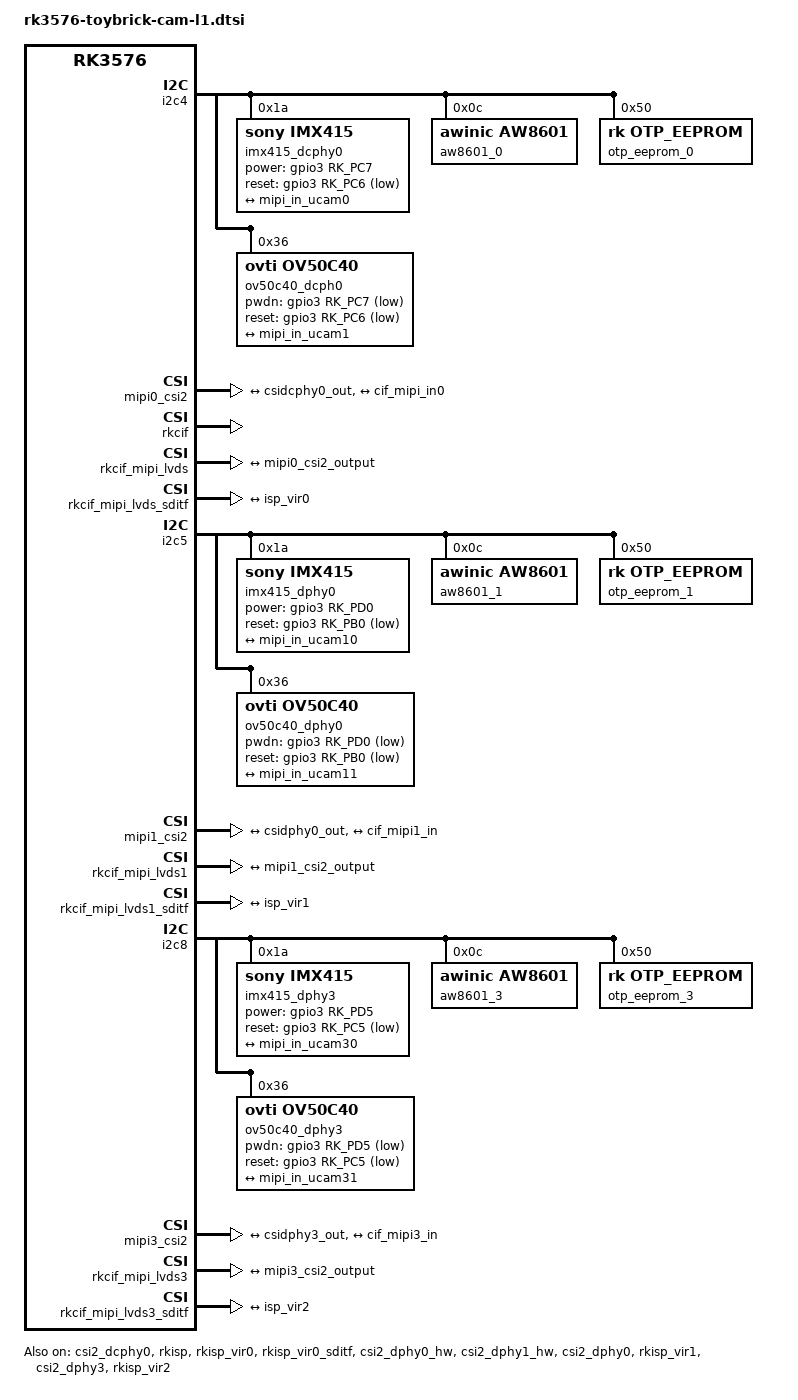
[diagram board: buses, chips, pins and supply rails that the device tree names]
// SPDX-License-Identifier: (GPL-2.0+ OR MIT)
/*
 * Copyright (c) 2024 Rockchip Electronics Co., Ltd.
 *
 */

&csi2_dcphy0 {
	status = "okay";

	ports {
		#address-cells = <1>;
		#size-cells = <0>;
		port@0 {
			reg = <0>;
			#address-cells = <1>;
			#size-cells = <0>;

			mipi_in_ucam0: endpoint@1 {
				reg = <1>;
				remote-endpoint = <&imx415_out0>;
				data-lanes = <1 2 3 4>;
			};
			
			mipi_in_ucam1: endpoint@2 {
				reg = <2>;
				remote-endpoint = <&ov50c40_out0>;
				data-lanes = <1 2 3 4>;
			};
		};
		port@1 {
			reg = <1>;
			#address-cells = <1>;
			#size-cells = <0>;

			csidcphy0_out: endpoint@0 {
				reg = <0>;
				remote-endpoint = <&mipi0_csi2_input>;
			};
		};
	};
};

&i2c4 {
	status = "okay";
	pinctrl-names = "default";
	pinctrl-0 = <&i2c4m3_xfer>;

	imx415_dcphy0: imx415@1a {
		compatible = "sony,imx415";
		reg = <0x1a>;
		clocks = <&cru CLK_MIPI_CAMERAOUT_M0>;
		clock-names = "xvclk";
		pinctrl-names = "default";
		pinctrl-0 = <&cam_clk0m0_clk0>;
		power-domains = <&power RK3576_PD_VI>;
		power-gpios = <&gpio3 RK_PC7 GPIO_ACTIVE_HIGH>;
		reset-gpios = <&gpio3 RK_PC6 GPIO_ACTIVE_LOW>;
		rockchip,camera-module-index = <0>;
		rockchip,camera-module-facing = "back";
		rockchip,camera-module-name = "CMK-OT2022-PX1";
		rockchip,camera-module-lens-name = "IR0147-50IRC-8M-F20";
		port {
			imx415_out0: endpoint {
				remote-endpoint = <&mipi_in_ucam0>;
				data-lanes = <1 2 3 4>;
			};
		};
	};

	aw8601_0: aw8601@c {
		compatible = "awinic,aw8601";
		status = "okay";
		reg = <0x0c>;
		rockchip,vcm-start-current = <56>;
		rockchip,vcm-rated-current = <96>;
		rockchip,vcm-step-mode = <4>;
		rockchip,camera-module-index = <0>;
		rockchip,camera-module-facing = "back";
	};

	otp_eeprom_0: otp_eeprom@50 {
		compatible = "rk,otp_eeprom";
		status = "okay";
		reg = <0x50>;
	};

	ov50c40_dcph0: ov50c40@36 {
		compatible = "ovti,ov50c40";
		reg = <0x36>;
		clocks = <&cru CLK_MIPI_CAMERAOUT_M0>;
		clock-names = "xvclk";
		power-domains = <&power RK3576_PD_VI>;
		pinctrl-names = "default";
		pinctrl-0 = <&cam_clk0m0_clk0>;
		pwdn-gpios = <&gpio3 RK_PC7 GPIO_ACTIVE_LOW>;// must be high at last
		reset-gpios = <&gpio3 RK_PC6 GPIO_ACTIVE_LOW>;// must be high at last
		rockchip,camera-module-index = <0>;
		rockchip,camera-module-facing = "back";
		rockchip,camera-module-name = "HZGA06";
		rockchip,camera-module-lens-name = "ZE0082C1-RK3568";
		eeprom-ctrl = <&otp_eeprom_0>;
		lens-focus = <&aw8601_0>;
		port {
			ov50c40_out0: endpoint {
				remote-endpoint = <&mipi_in_ucam1>;
				data-lanes = <1 2 3 4>;
			};
		};
	};
};

&mipi0_csi2 {
	status = "okay";

	ports {
		#address-cells = <1>;
		#size-cells = <0>;

		port@0 {
			reg = <0>;
			#address-cells = <1>;
			#size-cells = <0>;

			mipi0_csi2_input: endpoint@1 {
				reg = <1>;
				remote-endpoint = <&csidcphy0_out>;
			};
		};

		port@1 {
			reg = <1>;
			#address-cells = <1>;
			#size-cells = <0>;

			mipi0_csi2_output: endpoint@0 {
				reg = <0>;
				remote-endpoint = <&cif_mipi_in0>;
			};
		};
	};
};

&rkcif {
	status = "okay";
};

&rkcif_mipi_lvds {
	status = "okay";

	port {
		cif_mipi_in0: endpoint {
			remote-endpoint = <&mipi0_csi2_output>;
		};
	};
};

&rkcif_mipi_lvds_sditf {
	status = "okay";

	port {
		mipi_lvds_sditf: endpoint {
			remote-endpoint = <&isp_vir0>;
		};
	};
};

&rkcif_mmu {
	status = "okay";
};

&rkisp {
	status = "okay";
};

&rkisp_mmu {
	status = "okay";
};

&rkisp_vir0 {
	status = "okay";

	port {
		#address-cells = <1>;
		#size-cells = <0>;

		isp_vir0: endpoint@0 {
			reg = <0>;
			remote-endpoint = <&mipi_lvds_sditf>;
		};
	};
};

&rkisp_vir0_sditf {
	status = "okay";
};

&csi2_dphy0_hw {
	status = "okay";
};

&csi2_dphy1_hw {
	status = "okay";
};

&csi2_dphy0 {
	status = "okay";

	ports {
		#address-cells = <1>;
		#size-cells = <0>;
		port@0 {
			reg = <0>;
			#address-cells = <1>;
			#size-cells = <0>;

			mipi_in_ucam10: endpoint@1 {
				reg = <1>;
				remote-endpoint = <&imx415_out1>;
				data-lanes = <1 2 3 4>;
			};
			
			mipi_in_ucam11: endpoint@2 {
				reg = <2>;
				remote-endpoint = <&ov50c40_out1>;
				data-lanes = <1 2 3 4>;
			};
		};
		port@1 {
			reg = <1>;
			#address-cells = <1>;
			#size-cells = <0>;                             

			csidphy0_out: endpoint@0 {
				reg = <0>;
				remote-endpoint = <&mipi1_csi2_input>;
			};
		};
	};
};

&i2c5 {
	status = "okay";
	pinctrl-names = "default";
	pinctrl-0 = <&i2c5m3_xfer>;

	imx415_dphy0: imx415@1a {
		compatible = "sony,imx415";
		reg = <0x1a>;
		clocks = <&cru CLK_MIPI_CAMERAOUT_M1>;
		clock-names = "xvclk";
		pinctrl-names = "default";
		pinctrl-0 = <&cam_clk1m0_clk1>;
		power-domains = <&power RK3576_PD_VI>;
		power-gpios = <&gpio3 RK_PD0 GPIO_ACTIVE_HIGH>;
		reset-gpios = <&gpio3 RK_PB0 GPIO_ACTIVE_LOW>;
		rockchip,camera-module-index = <1>;
		rockchip,camera-module-facing = "back";
		rockchip,camera-module-name = "CMK-OT2022-PX1";
		rockchip,camera-module-lens-name = "IR0147-50IRC-8M-F20";
		port {
			imx415_out1: endpoint {
				remote-endpoint = <&mipi_in_ucam10>;
				data-lanes = <1 2 3 4>;
			};
		};
	};

	aw8601_1: aw8601@c {
		compatible = "awinic,aw8601";
		status = "okay";
		reg = <0x0c>;
		rockchip,vcm-start-current = <56>;
		rockchip,vcm-rated-current = <96>;
		rockchip,vcm-step-mode = <4>;
		rockchip,camera-module-index = <0>;
		rockchip,camera-module-facing = "back";
	};

	otp_eeprom_1: otp_eeprom@50 {
		compatible = "rk,otp_eeprom";
		status = "okay";
		reg = <0x50>;
	};

	ov50c40_dphy0: ov50c40@36 {
		compatible = "ovti,ov50c40";
		reg = <0x36>;
		clocks = <&cru CLK_MIPI_CAMERAOUT_M1>;
		clock-names = "xvclk";
		power-domains = <&power RK3576_PD_VI>;
		pinctrl-names = "default";
		pinctrl-0 = <&cam_clk1m0_clk1>;
		pwdn-gpios = <&gpio3 RK_PD0 GPIO_ACTIVE_LOW>;// must be high at last
		reset-gpios = <&gpio3 RK_PB0 GPIO_ACTIVE_LOW>;// must be high at last
		rockchip,camera-module-index = <0>;
		rockchip,camera-module-facing = "back";
		rockchip,camera-module-name = "HZGA06";
		rockchip,camera-module-lens-name = "ZE0082C1-RK3568";
		eeprom-ctrl = <&otp_eeprom_1>;
		lens-focus = <&aw8601_1>;
		port {
			ov50c40_out1: endpoint {
				remote-endpoint = <&mipi_in_ucam11>;
				data-lanes = <1 2 3 4>;
			};
		};
	};
};

&mipi1_csi2 {
	status = "okay";

	ports {
		#address-cells = <1>;
		#size-cells = <0>;

		port@0 {
			reg = <0>;
			#address-cells = <1>;
			#size-cells = <0>;

			mipi1_csi2_input: endpoint@1 {
				reg = <1>;
				remote-endpoint = <&csidphy0_out>;
			};
		};

		port@1 {
			reg = <1>;
			#address-cells = <1>;
			#size-cells = <0>;

			mipi1_csi2_output: endpoint@0 {
				reg = <0>;
				remote-endpoint = <&cif_mipi1_in>;
			};
		};
	};
};

&rkcif {
	status = "okay";
};

&rkcif_mipi_lvds1 {
	status = "okay";

	port {
		cif_mipi1_in: endpoint {
			remote-endpoint = <&mipi1_csi2_output>;
		};
	};
};

&rkcif_mipi_lvds1_sditf {
	status = "okay";

	port {
		mipi_lvds1_sditf: endpoint {
			remote-endpoint = <&isp_vir1>;
		};
	};
};

&rkcif_mmu {
	status = "okay";
};

&rkisp {
	status = "okay";
};

&rkisp_mmu {
	status = "okay";
};

&rkisp_vir1 {
	status = "okay";

	port {
		#address-cells = <1>;
		#size-cells = <0>;

		isp_vir1: endpoint@0 {
			reg = <0>;
			remote-endpoint = <&mipi_lvds1_sditf>;
		};
	};
};

&csi2_dphy3 {
	status = "okay";

	ports {
		#address-cells = <1>;
		#size-cells = <0>;
		port@0 {
			reg = <0>;
			#address-cells = <1>;
			#size-cells = <0>;

			mipi_in_ucam30: endpoint@1 {
				reg = <1>;
				remote-endpoint = <&imx415_out3>;
				data-lanes = <1 2 3 4>;
			};
			
			mipi_in_ucam31: endpoint@2 {
				reg = <2>;
				remote-endpoint = <&ov50c40_out3>;
				data-lanes = <1 2 3 4>;
			};
		};
		port@1 {
			reg = <1>;
			#address-cells = <1>;
			#size-cells = <0>;

			csidphy3_out: endpoint@0 {
				reg = <0>;
				remote-endpoint = <&mipi3_csi2_input>;
			};
		};
	};
};

&i2c8 {
	status = "okay";
	pinctrl-names = "default";
	pinctrl-0 = <&i2c8m2_xfer>;

	imx415_dphy3: imx415@1a {
		compatible = "sony,imx415";
		reg = <0x1a>;
		clocks = <&cru CLK_MIPI_CAMERAOUT_M2>;
		clock-names = "xvclk";
		pinctrl-names = "default";
		pinctrl-0 = <&cam_clk2m0_clk2>;
		power-domains = <&power RK3576_PD_VI>;
		power-gpios = <&gpio3 RK_PD5 GPIO_ACTIVE_HIGH>;
		reset-gpios = <&gpio3 RK_PC5 GPIO_ACTIVE_LOW>;
		rockchip,camera-module-index = <1>;
		rockchip,camera-module-facing = "back";
		rockchip,camera-module-name = "CMK-OT2022-PX1";
		rockchip,camera-module-lens-name = "IR0147-50IRC-8M-F20";
		port {
			imx415_out3: endpoint {
				remote-endpoint = <&mipi_in_ucam30>;
				data-lanes = <1 2 3 4>;
			};
		};
	};

	aw8601_3: aw8601@c {
		compatible = "awinic,aw8601";
		status = "okay";
		reg = <0x0c>;
		rockchip,vcm-start-current = <56>;
		rockchip,vcm-rated-current = <96>;
		rockchip,vcm-step-mode = <4>;
		rockchip,camera-module-index = <0>;
		rockchip,camera-module-facing = "back";
	};

	otp_eeprom_3: otp_eeprom@50 {
		compatible = "rk,otp_eeprom";
		status = "okay";
		reg = <0x50>;
	};

	ov50c40_dphy3: ov50c40@36 {
		compatible = "ovti,ov50c40";
		reg = <0x36>;
		clocks = <&cru CLK_MIPI_CAMERAOUT_M2>;
		clock-names = "xvclk";
		power-domains = <&power RK3576_PD_VI>;
		pinctrl-names = "default";
		pinctrl-0 = <&cam_clk2m0_clk2>;
		pwdn-gpios = <&gpio3 RK_PD5 GPIO_ACTIVE_LOW>;// must be high at last
		reset-gpios = <&gpio3 RK_PC5 GPIO_ACTIVE_LOW>;// must be high at last
		rockchip,camera-module-index = <0>;
		rockchip,camera-module-facing = "back";
		rockchip,camera-module-name = "HZGA06";
		rockchip,camera-module-lens-name = "ZE0082C1-RK3568";
		eeprom-ctrl = <&otp_eeprom_3>;
		lens-focus = <&aw8601_3>;
		port {
			ov50c40_out3: endpoint {
				remote-endpoint = <&mipi_in_ucam31>;
				data-lanes = <1 2 3 4>;
			};
		};
	};
};

&mipi3_csi2 {
	status = "okay";

	ports {
		#address-cells = <1>;
		#size-cells = <0>;

		port@0 {
			reg = <0>;
			#address-cells = <1>;
			#size-cells = <0>;

			mipi3_csi2_input: endpoint@1 {
				reg = <1>;
				remote-endpoint = <&csidphy3_out>;
			};
		};

		port@1 {
			reg = <1>;
			#address-cells = <1>;
			#size-cells = <0>;

			mipi3_csi2_output: endpoint@0 {
				reg = <0>;
				remote-endpoint = <&cif_mipi3_in>;
			};
		};
	};
};

&rkcif {
	status = "okay";
};

&rkcif_mipi_lvds3 {
	status = "okay";

	port {
		cif_mipi3_in: endpoint {
			remote-endpoint = <&mipi3_csi2_output>;
		};
	};
};

&rkcif_mipi_lvds3_sditf {
	status = "okay";

	port {
		mipi_lvds3_sditf: endpoint {
			remote-endpoint = <&isp_vir2>;
		};
	};
};

&rkcif_mmu {
	status = "okay";
};

&rkisp {
	status = "okay";
};

&rkisp_mmu {
	status = "okay";
};

&rkisp_vir2 {
	status = "okay";

	port {
		#address-cells = <1>;
		#size-cells = <0>;

		isp_vir2: endpoint@0 {
			reg = <0>;
			remote-endpoint = <&mipi_lvds3_sditf>;
		};
	};
};

